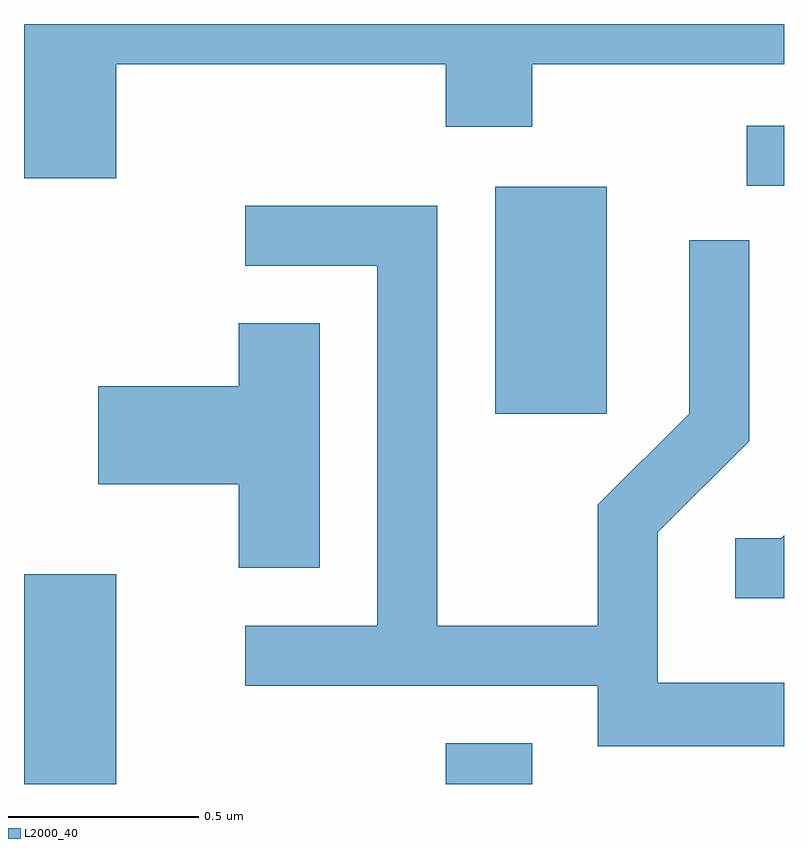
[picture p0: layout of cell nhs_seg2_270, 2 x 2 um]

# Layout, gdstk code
import gdstk
lib = gdstk.Library(unit=1e-6, precision=1e-09)
def R(c, l, rs):  # rectangles x0, y0, x1, y1
    for r in rs: c.add(gdstk.rectangle(r[:2], r[2:], *l))
def P(c, l, *ps):  # polygons
    for p in ps: c.add(gdstk.Polygon(p, *l))
L2000_40 = (2000, 40)

nhs_seg2_270 = lib.new_cell('nhs_seg2_270')
R(nhs_seg2_270, L2000_40, [(186.611,1110.802,186.854,1111.354), (187.721,1110.802,187.949,1110.909), (187.851,1111.776,188.144,1112.374), (188.513,1112.376,188.611,1112.534)])
P(nhs_seg2_270, L2000_40, [(186.854,1112.696),(187.721,1112.696),(187.721,1112.531),(187.949,1112.531),(187.949,1112.696),(188.611,1112.696),(188.611,1112.802),(186.611,1112.802),(186.611,1112.396),(186.854,1112.396)],
  [(188.611,1111.069),(188.279,1111.069),(188.279,1111.464),(188.519,1111.704),(188.519,1112.233),(188.361,1112.233),(188.361,1111.777),(188.121,1111.537),(188.121,1111.219),(187.699,1111.219),(187.699,1112.324),(187.193,1112.324),(187.193,1112.166),(187.541,1112.166),(187.541,1111.219),(187.193,1111.219),(187.193,1111.061),(188.121,1111.061),(188.121,1110.901),(188.611,1110.901)],
  [(187.389,1112.014),(187.176,1112.014),(187.176,1111.849),(186.806,1111.849),(186.806,1111.591),(187.176,1111.591),(187.176,1111.371),(187.389,1111.371)],
  [(188.611,1111.456),(188.604,1111.449),(188.483,1111.449),(188.483,1111.291),(188.611,1111.291)])

lib.write_gds('nhs_seg2_270.gds')
